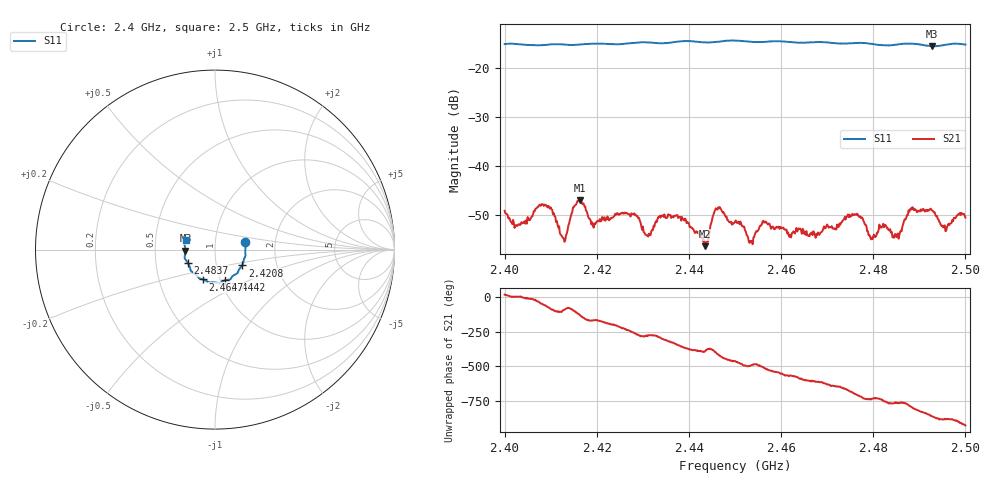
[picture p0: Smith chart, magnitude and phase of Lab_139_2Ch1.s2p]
# Hz S RI R 50
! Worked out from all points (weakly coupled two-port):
!   601 points, 2.4 GHz to 2.5 GHz, reference 50 ohm
!   highest |S21| = -47.04 dB at 2.4163 GHz (marker M1); lowest = -56.4 dB at 2.4435 GHz (marker M2)
!   lowest |S11| = -15.6 dB at 2.4928 GHz (marker M3), VSWR 1.40, Z = 35.8 - j0.395 ohm
!   |S11| at or under -10 dB: start of sweep to end of sweep
!   S12 and S22 are empty: the file has one direction only
!   S11 on the Smith chart (normalised r, x): 2.4 GHz: 1.40, +0.12; 2.4208 GHz: 1.33, -0.24; 2.4442 GHz: 1.05, -0.37; 2.4647 GHz: 0.83, -0.29; 2.4837 GHz: 0.73, -0.11; 2.5 GHz: 0.72, +0.08
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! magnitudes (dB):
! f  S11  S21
! 2.4 GHz  -15.2  -49.1
! 2.4092 GHz  -15.4  -48.2
! 2.4128 GHz  -15.3  -54.8
! 2.4163 GHz  -15.3  -47.0
! 2.4167 GHz  -15.3  -47.3
! 2.4208 GHz  -15.1  -51.3
! 2.428 GHz  -15.0  -49.9
! 2.4312 GHz  -14.9  -54.4
! 2.4333 GHz  -15.0  -50.4
! 2.4435 GHz  -14.9  -56.4
! 2.4442 GHz  -14.9  -55.5
! 2.4462 GHz  -14.8  -48.9
! 2.45 GHz  -14.5  -51.4
! 2.4533 GHz  -14.7  -55.3
! 2.4563 GHz  -14.8  -51.6
! 2.4647 GHz  -14.9  -52.8
! 2.4667 GHz  -14.8  -53.6
! 2.476 GHz  -15.0  -49.9
! 2.4833 GHz  -15.5  -53.1
! 2.4837 GHz  -15.5  -52.9
! 2.4928 GHz  -15.6  -49.1
! 2.5 GHz  -15.3  -50.5
